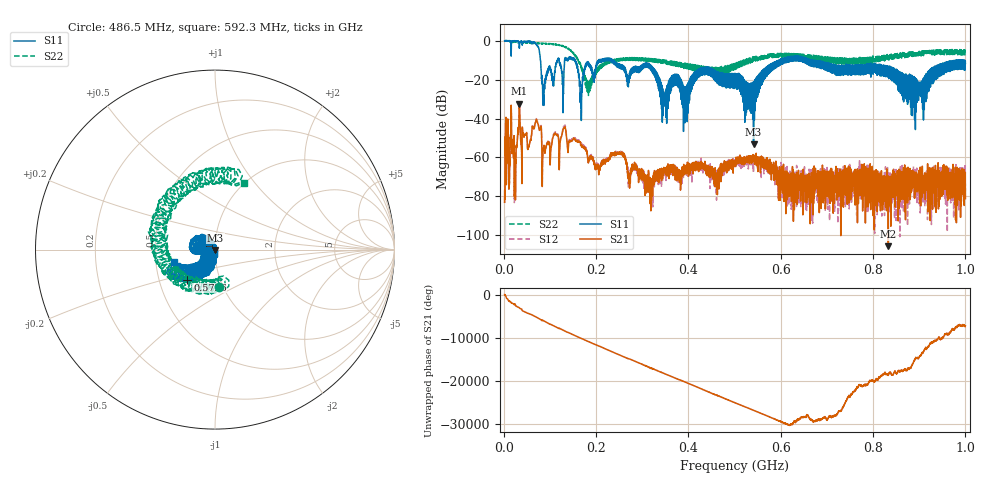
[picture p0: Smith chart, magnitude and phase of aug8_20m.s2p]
!Keysight Technologies N9923A: A.12.45
!Date: Friday, 08 August 2025 17:42:25
!Timezone: (UTC+08:00) Kuala Lumpur, Singapore
!Model: N9923A
!Serial: MY61181427
!GPS Latitude:
!GPS Longitude:
!GPS TimeStamp: 0001-01-01 00:00:00Z
!GPS Seconds Since Last Read: 0
!CHECKSUM:0882798449
!Correction: S11(ON U)S21(ON U)S12(ON U)S22(ON U)
!S2P File: Measurements:S11,S21,S12,S22:
# Hz S DB R 50
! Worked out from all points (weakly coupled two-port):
!   4001 points, 2 MHz to 1 GHz, reference 50 ohm
!   highest |S21| = -32.37 dB at 33.94 MHz (marker M1); lowest = -105.5 dB at 833.1 MHz (marker M2)
!   lowest |S11| = -53.3 dB at 541.2 MHz (marker M3), VSWR 1.00, Z = 50.2 - j0.132 ohm
!   |S11| at or under -10 dB: 155.1 MHz to 205.9 MHz (50.79 MHz wide, 28.1 % of centre); 236 MHz to 597.8 MHz (361.8 MHz wide, 86.8 % of centre); 667.2 MHz to 980.9 MHz (313.7 MHz wide, 38.1 % of centre) (the widest 3 of 76)
!   |S22| runs from -28.2 to 0.1 dB; largest |S21 - S12| = 0.0013
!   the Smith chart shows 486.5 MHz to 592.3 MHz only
!   S11 on the Smith chart (normalised r, x): 486.5 MHz: 0.87, -0.01; 572.6 MHz: 0.70, -0.25; 592.3 MHz: 0.62, -0.09
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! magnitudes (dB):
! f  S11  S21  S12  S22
! 2 MHz  -0.1  -83.0  -83.4  0.0
! 33.94 MHz  -3.9  -32.4  -32.3  -1.1
! 72.11 MHz  -2.3  -41.4  -41.0  -1.3
! 86.83 MHz  -33.3  -54.4  -53.6  -1.7
! 145.2 MHz  -8.5  -51.6  -50.7  -5.4
! 168.4 MHz  -35.3  -53.7  -53.3  -13.8
! 183.6 MHz  -11.4  -61.5  -61.6  -28.2
! 222.6 MHz  -9.1  -61.6  -61.7  -11.0
! 334.8 MHz  -19.3  -69.6  -73.9  -11.4
! 348.3 MHz  -33.2  -67.8  -67.8  -11.9
! 370.5 MHz  -17.2  -67.3  -70.1  -11.9
! 392.7 MHz  -42.2  -66.0  -67.6  -11.7
! 486.5 MHz  -23.4  -62.7  -64.5  -13.5
! 501 MHz  -16.8  -63.8  -61.1  -14.9
! 541.2 MHz  -53.3  -60.2  -61.7  -10.0
! 572.6 MHz  -12.9  -64.2  -62.6  -7.0
! 592.3 MHz  -12.3  -67.8  -64.6  -7.8
! 667.4 MHz  -10.4  -74.7  -72.9  -8.3
! 833.1 MHz  -13.4  -105.5  -71.8  -9.1
! 833.8 MHz  -18.2  -70.0  -70.3  -8.2
! 906.2 MHz  -23.5  -68.2  -82.8  -6.7
! 1 GHz  -11.7  -81.1  -73.9  -6.1
